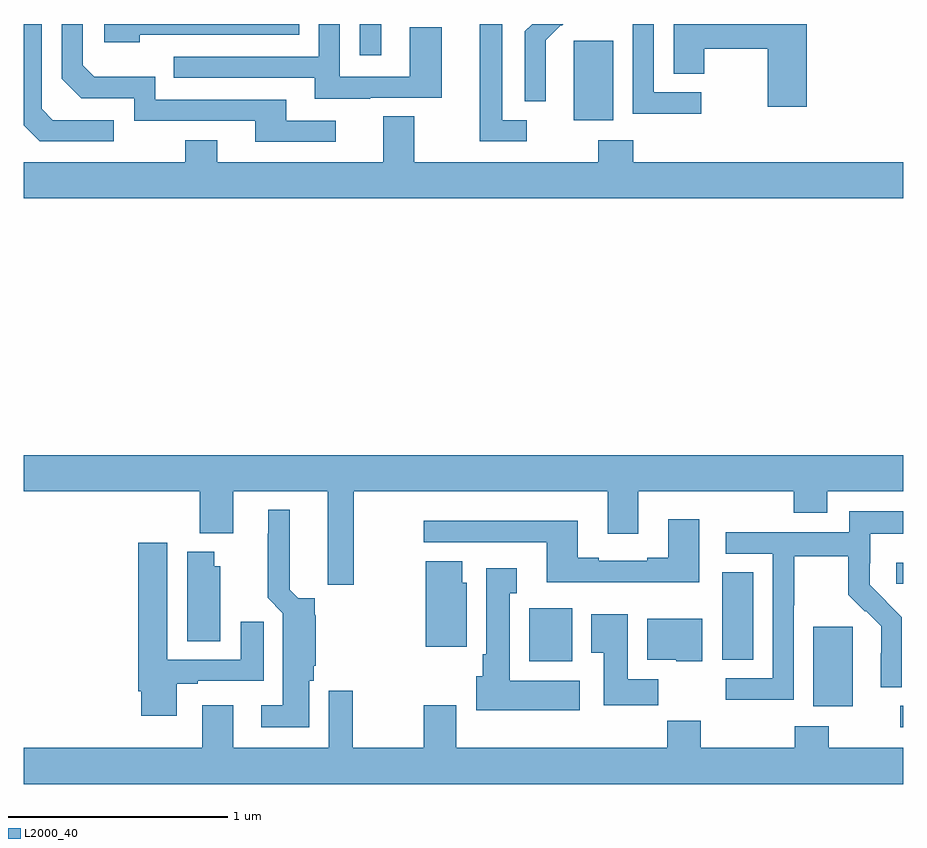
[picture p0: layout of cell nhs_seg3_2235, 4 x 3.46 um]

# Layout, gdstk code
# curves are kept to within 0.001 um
import gdstk
lib = gdstk.Library(unit=1e-6, precision=1e-09)
def R(c, l, rs):  # rectangles x0, y0, x1, y1
    for r in rs: c.add(gdstk.rectangle(r[:2], r[2:], *l))
def P(c, l, *ps):  # polygons
    for p in ps: c.add(gdstk.Polygon(p, *l))
L2000_40 = (2000, 40)

nhs_seg3_2235 = lib.new_cell('nhs_seg3_2235')
R(nhs_seg3_2235, L2000_40, [(230.985,673.203,231,673.299), (230.591,673.298,230.77,673.659), (229.298,673.502,229.495,673.744), (230.177,673.51,230.317,673.907), (230.967,673.854,231,673.951), (229.502,675.962,229.681,676.323), (228.528,676.257,228.625,676.4)])
P(nhs_seg3_2235, L2000_40, [(229.374,676.202),(229.373,676.202),(229.373,676.325),(229.443,676.395),(229.446,676.392),(229.454,676.4),(229.312,676.4),(229.278,676.366),(229.278,676.048),(229.374,676.048)],
  [(229.288,675.963),(229.177,675.963),(229.177,676.4),(229.073,676.4),(229.073,675.867),(229.288,675.867)],
  [(230.561,676.4),(229.955,676.4),(229.955,676.174),(230.094,676.174),(230.094,676.288),(230.383,676.288),(230.383,676.023),(230.561,676.023)],
  [(227.41,675.963),(227.133,675.963),(227.082,676.014),(227.082,676.4),(227,676.4),(227,675.94),(227.073,675.867),(227.41,675.867)],
  [(230.08,676.089),(229.866,676.089),(229.866,676.4),(229.77,676.4),(229.77,675.991),(230.08,675.991)],
  [(227.528,676.35),(228.252,676.35),(228.252,676.4),(227.367,676.4),(227.367,676.316),(227.528,676.316)],
  [(228.418,675.96),(228.193,675.96),(228.193,676.056),(227.598,676.056),(227.598,676.159),(227.321,676.159),(227.268,676.212),(227.268,676.4),(227.172,676.4),(227.172,676.152),(227.262,676.062),(227.502,676.062),(227.502,675.96),(228.053,675.96),(228.053,675.864),(228.418,675.864)],
  [(228.577,676.065),(228.901,676.065),(228.901,676.385),(228.756,676.385),(228.756,676.161),(228.438,676.161),(228.438,676.4),(228.342,676.4),(228.342,676.251),(227.683,676.251),(227.683,676.155),(228.323,676.155),(228.323,676.061),(228.577,676.061)],
  [(231,675.772),(229.772,675.772),(229.772,675.871),(229.612,675.871),(229.612,675.772),(228.775,675.772),(228.775,675.98),(228.635,675.98),(228.635,675.772),(227.881,675.772),(227.881,675.871),(227.734,675.871),(227.734,675.772),(227,675.772),(227,675.608),(231,675.608)],
  [(228.501,674.276),(229.655,674.276),(229.655,674.082),(229.795,674.082),(229.795,674.276),(230.501,674.276),(230.501,674.177),(230.653,674.177),(230.653,674.276),(231,674.276),(231,674.44),(227,674.44),(227,674.276),(227.801,674.276),(227.801,674.084),(227.953,674.084),(227.953,674.276),(228.383,674.276),(228.383,673.851),(228.501,673.851)],
  [(228.298,673.413),(228.32,673.413),(228.32,673.482),(228.329,673.482),(228.329,673.709),(228.323,673.715),(228.323,673.789),(228.249,673.789),(228.211,673.828),(228.211,674.191),(228.113,674.191),(228.113,674.081),(228.109,674.081),(228.109,673.79),(228.179,673.72),(228.179,673.303),(228.081,673.303),(228.081,673.202),(228.298,673.202)],
  [(230.502,673.756),(230.505,673.756),(230.505,673.98),(230.749,673.98),(230.749,673.805),(230.826,673.728),(230.829,673.731),(230.9,673.661),(230.9,673.538),(230.898,673.538),(230.898,673.384),(230.994,673.384),(230.994,673.702),(230.848,673.85),(230.848,673.947),(230.85,673.947),(230.85,674.081),(231,674.081),(231,674.185),(230.754,674.185),(230.754,674.088),(230.193,674.088),(230.193,673.992),(230.406,673.992),(230.406,673.425),(230.193,673.425),(230.193,673.327),(230.502,673.327)],
  [(230.071,674.149),(229.931,674.149),(229.931,673.972),(229.835,673.972),(229.835,673.959),(229.615,673.959),(229.615,673.972),(229.519,673.972),(229.519,674.14),(228.819,674.14),(228.819,674.043),(229.379,674.043),(229.379,673.862),(230.071,673.862)],
  [(227.695,673.401),(227.791,673.401),(227.791,673.413),(228.091,673.413),(228.091,673.681),(227.987,673.681),(227.987,673.509),(227.653,673.509),(227.653,674.041),(227.522,674.041),(227.522,673.366),(227.534,673.366),(227.534,673.254),(227.695,673.254)],
  [(227.893,673.935),(227.866,673.935),(227.866,673.999),(227.744,673.999),(227.744,673.594),(227.893,673.594)],
  [(229.015,673.86),(228.994,673.86),(228.994,673.958),(228.829,673.958),(228.829,673.568),(229.015,673.568)],
  [(229.528,673.414),(229.21,673.414),(229.21,673.811),(229.243,673.811),(229.243,673.924),(229.103,673.924),(229.103,673.534),(229.088,673.534),(229.088,673.434),(229.058,673.434),(229.058,673.28),(229.528,673.28)],
  [(229.886,673.42),(229.747,673.42),(229.747,673.717),(229.58,673.717),(229.58,673.541),(229.637,673.541),(229.637,673.302),(229.886,673.302)],
  [(230.086,673.696),(229.835,673.696),(229.835,673.508),(229.968,673.508),(229.968,673.502),(230.086,673.502)],
  [(231,673.108),(230.661,673.108),(230.661,673.207),(230.506,673.207),(230.506,673.108),(230.079,673.108),(230.079,673.232),(229.927,673.232),(229.927,673.108),(228.967,673.108),(228.967,673.303),(228.82,673.303),(228.82,673.108),(228.496,673.108),(228.496,673.369),(228.388,673.369),(228.388,673.108),(227.953,673.108),(227.953,673.303),(227.813,673.303),(227.813,673.108),(227,673.108),(227,672.944),(231,672.944)])

lib.write_gds('nhs_seg3_2235.gds')
